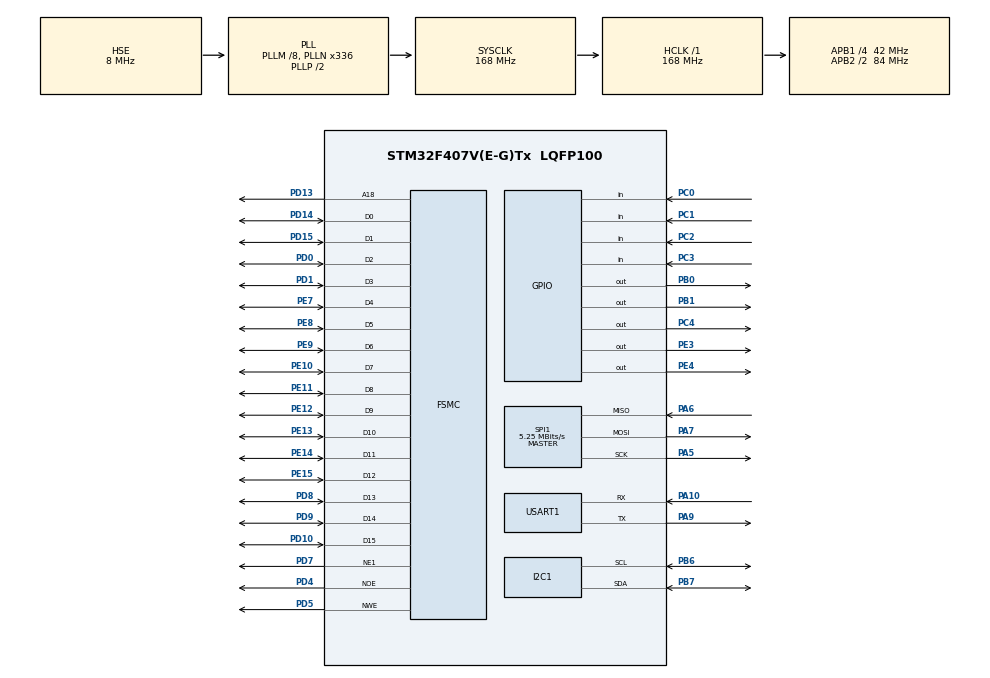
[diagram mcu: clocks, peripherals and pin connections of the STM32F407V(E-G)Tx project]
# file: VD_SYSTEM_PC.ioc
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FSMC.AddressSetupTime1=5
FSMC.BusTurnAroundDuration1=0
FSMC.DataSetupTime1=9
I2C1.I2C_Mode=I2C_Fast
Mcu.Family=STM32F4
Mcu.Name=STM32F407V(E-G)Tx
Mcu.Package=LQFP100
NVIC.PriorityGroup=NVIC_PRIORITYGROUP_4
NVIC.TIM3_IRQn=true\:0\:0\:false\:false\:true\:true\:true\:true
NVIC.USART1_IRQn=true\:0\:0\:false\:false\:true\:true\:true\:true
PA10.Mode=Asynchronous
PA10.Signal=USART1_RX
PA13.Mode=Serial_Wire
PA13.Signal=SYS_JTMS-SWDIO
PA14.Mode=Serial_Wire
PA14.Signal=SYS_JTCK-SWCLK
PA5.Mode=Full_Duplex_Master
PA5.Signal=SPI1_SCK
PA6.Mode=Full_Duplex_Master
PA6.Signal=SPI1_MISO
PA7.Mode=Full_Duplex_Master
PA7.Signal=SPI1_MOSI
PA9.Mode=Asynchronous
PA9.Signal=USART1_TX
PB0.GPIO_Speed=GPIO_SPEED_FREQ_MEDIUM
PB0.PinState=GPIO_PIN_SET
PB0.Signal=GPIO_Output
PB1.PinState=GPIO_PIN_SET
PB1.Signal=GPIO_Output
PB6.Mode=I2C
PB6.Signal=I2C1_SCL
PB7.Mode=I2C
PB7.Signal=I2C1_SDA
PC0.GPIO_PuPd=GPIO_PULLUP
PC0.Signal=GPIO_Input
PC1.GPIO_PuPd=GPIO_PULLUP
PC1.Signal=GPIO_Input
PC2.GPIO_PuPd=GPIO_PULLUP
PC2.Signal=GPIO_Input
PC3.GPIO_PuPd=GPIO_PULLUP
PC3.Signal=GPIO_Input
PC4.Signal=GPIO_Output
PD0.Mode=16b-d1
PD0.Signal=FSMC_D2
PD1.Mode=16b-d1
PD1.Signal=FSMC_D3
PD10.Mode=16b-d1
PD10.Signal=FSMC_D15
PD13.Mode=A18_1
PD13.Signal=FSMC_A18
PD14.Mode=16b-d1
PD14.Signal=FSMC_D0
PD15.Mode=16b-d1
PD15.Signal=FSMC_D1
PD4.Mode=Lcd1
PD4.Signal=FSMC_NOE
PD5.Mode=Lcd1
PD5.Signal=FSMC_NWE
PD7.Mode=NorPsramChipSelect1_1
PD7.Signal=FSMC_NE1
PD8.Mode=16b-d1
PD8.Signal=FSMC_D13
PD9.Mode=16b-d1
PD9.Signal=FSMC_D14
PE10.Mode=16b-d1
PE10.Signal=FSMC_D7
PE11.Mode=16b-d1
PE11.Signal=FSMC_D8
PE12.Mode=16b-d1
PE12.Signal=FSMC_D9
PE13.Mode=16b-d1
PE13.Signal=FSMC_D10
PE14.Mode=16b-d1
PE14.Signal=FSMC_D11
PE15.Mode=16b-d1
PE15.Signal=FSMC_D12
PE3.PinState=GPIO_PIN_SET
PE3.Signal=GPIO_Output
PE4.PinState=GPIO_PIN_SET
PE4.Signal=GPIO_Output
PE7.Mode=16b-d1
PE7.Signal=FSMC_D4
PE8.Mode=16b-d1
PE8.Signal=FSMC_D5
PE9.Mode=16b-d1
PE9.Signal=FSMC_D6
PH0-OSC_IN.Mode=HSE-External-Oscillator
PH0-OSC_IN.Signal=RCC_OSC_IN
PH1-OSC_OUT.Mode=HSE-External-Oscillator
PH1-OSC_OUT.Signal=RCC_OSC_OUT
ProjectManager.HeapSize=0x200
ProjectManager.StackSize=0x400
ProjectManager.TargetToolchain=STM32CubeIDE
RCC.48MHZClocksFreq_Value=84000000
RCC.AHBFreq_Value=168000000
RCC.APB1CLKDivider=RCC_HCLK_DIV4
RCC.APB1Freq_Value=42000000
RCC.APB1TimFreq_Value=84000000
RCC.APB2CLKDivider=RCC_HCLK_DIV2
RCC.APB2Freq_Value=84000000
RCC.APB2TimFreq_Value=168000000
RCC.CortexFreq_Value=168000000
RCC.HCLKFreq_Value=168000000
RCC.HSE_VALUE=8000000
RCC.HSI_VALUE=16000000
RCC.LSE_VALUE=32768
RCC.PLLM=8
RCC.PLLN=336
RCC.PLLSourceVirtual=RCC_PLLSOURCE_HSE
RCC.SYSCLKFreq_VALUE=168000000
RCC.SYSCLKSource=RCC_SYSCLKSOURCE_PLLCLK
RCC.VCOOutputFreq_Value=336000000
SPI1.BaudRatePrescaler=SPI_BAUDRATEPRESCALER_16
SPI1.CalculateBaudRate=5.25 MBits/s
SPI1.Direction=SPI_DIRECTION_2LINES
SPI1.Mode=SPI_MODE_MASTER
SPI1.VirtualType=VM_MASTER
TIM3.AutoReloadPreload=TIM_AUTORELOAD_PRELOAD_ENABLE
TIM3.Period=24
TIM3.Prescaler=8399
USART1.VirtualMode=VM_ASYNC
VP_TIM3_VS_ClockSourceINT.Mode=Internal
board=custom

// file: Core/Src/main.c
/* USER CODE BEGIN Header */
/**
  ******************************************************************************
  * @file           : main.c
  * @brief          : Main program body
  ******************************************************************************
  * @attention
  *
  * Copyright (c) 2026 STMicroelectronics.
  * All rights reserved.
  *
  * This software is licensed under terms that can be found in the LICENSE file
  * in the root directory of this software component.
  * If no LICENSE file comes with this software, it is provided AS-IS.
  *
  ******************************************************************************
  */
/* USER CODE END Header */
#include "main.h"

/* USER CODE BEGIN Includes */
#include "buzzer.h"
#include "w25q16.h"
#include "stdio.h"
#include "adxl345.h"
#include "ili9341.h"
#include "fft_process.h"
#include "app.h"
/* USER CODE END Includes */

/* USER CODE BEGIN PD */

// =========================
// UART 수신 관련 변수
// ------------------------------------------------------------
// - 인터럽트 기반 UART 명령 수신 처리용
// - 한 바이트씩 데이터를 받아 문자열로 조합
// =========================

// UART로부터 수신된 1바이트 데이터 저장
uint8_t rx_byte;

// 수신된 명령 문자열 버퍼 (app.c에서 정의)
// - 예: "HELLO", "START", "STOP"
extern char cmd_buf[50];

// 명령 수신 완료 플래그 (app.c에서 정의)
// - '\n' 또는 '\r' 수신 시 1로 설정
// - main loop에서 확인 후 명령 처리
extern uint8_t cmd_ready;

// 현재 cmd_buf에 저장된 위치 인덱스
// - 수신된 문자를 순차적으로 저장
// - 명령 완료 시 0으로 초기화
static uint8_t rx_index = 0;

/* USER CODE END PD */

I2C_HandleTypeDef hi2c1;

SPI_HandleTypeDef hspi1;

TIM_HandleTypeDef htim3;

UART_HandleTypeDef huart1;

SRAM_HandleTypeDef hsram1;

/* USER CODE BEGIN PV */
int16_t x, y, z;
/* USER CODE END PV */

void SystemClock_Config(void);
static void MX_GPIO_Init(void);
static void MX_FSMC_Init(void);
static void MX_I2C1_Init(void);
static void MX_SPI1_Init(void);
static void MX_USART1_UART_Init(void);
static void MX_TIM3_Init(void);

/* USER CODE BEGIN 0 */
int _write(int file, char *ptr, int len)
{
    HAL_UART_Transmit(&huart1, (uint8_t*)ptr, len, HAL_MAX_DELAY);
    return len;
}

void HAL_UART_RxCpltCallback(UART_HandleTypeDef *huart)
{
    if(huart->Instance == USART1)
    {
        // =========================
        // 종료 문자 '#' 수신 시
        // =========================
        if(rx_byte == '#')
        {
            cmd_buf[rx_index] = '\0';   // 문자열 종료
            cmd_ready = 1;              // 명령 준비 완료
            rx_index = 0;               // 다음 명령 준비
        }
        else
        {
            // =========================
            // 일반 문자 저장
            // =========================
            if(rx_index < 49)   // 버퍼 오버플로 방지
            {
                cmd_buf[rx_index++] = rx_byte;
            }
        }

        // =========================
        // 다음 바이트 수신 재시작
        // =========================
        HAL_UART_Receive_IT(&huart1, &rx_byte, 1);
    }
}
/* USER CODE END 0 */

int main(void)
{

  /* MCU Configuration--------------------------------------------------------*/

  /* Reset of all peripherals, Initializes the Flash interface and the Systick. */
  HAL_Init();

  /* USER CODE BEGIN Init */
  //전원 안정화 대기
  HAL_Delay(100);
  /* USER CODE END Init */

  /* Configure the system clock */
  SystemClock_Config();

  /* Initialize all configured peripherals */
  MX_GPIO_Init();
  MX_FSMC_Init();
  MX_I2C1_Init();
  MX_SPI1_Init();
  MX_USART1_UART_Init();
  MX_TIM3_Init();
  /* USER CODE BEGIN 2 */
  Buzzer_Init();
  ILI9341_Init();
  App_Init();
  ADXL345_Init();
  FFT_Process_Init();

  // TIM 인터럽트 시작
  HAL_TIM_Base_Start_IT(&htim3);

  HAL_UART_Receive_IT(&huart1, &rx_byte, 1);
  /* USER CODE END 2 */

  /* Infinite loop */
  while (1)
  {

    /* USER CODE BEGIN 3 */
      if(adxl_sample_flag)
      {
          adxl_sample_flag = 0;

          if(ADXL345_ReadXYZ(&x, &y, &z) == HAL_OK)
          {
              float fx = (float)x;
              float fy = (float)y;
              float fz = (float)z;

              float mag = sqrtf(fx*fx + fy*fy + fz*fz);

              FFT_Process_Input(mag);
          }
      }

      App_Update(x, y, z);
  }
  /* USER CODE END 3 */
}

void SystemClock_Config(void)
{
  RCC_OscInitTypeDef RCC_OscInitStruct = {0};
  RCC_ClkInitTypeDef RCC_ClkInitStruct = {0};

  /** Configure the main internal regulator output voltage
  */
  __HAL_RCC_PWR_CLK_ENABLE();
  __HAL_PWR_VOLTAGESCALING_CONFIG(PWR_REGULATOR_VOLTAGE_SCALE1);

  /** Initializes the RCC Oscillators according to the specified parameters
  * in the RCC_OscInitTypeDef structure.
  */
  RCC_OscInitStruct.OscillatorType = RCC_OSCILLATORTYPE_HSE;
  RCC_OscInitStruct.HSEState = RCC_HSE_ON;
  RCC_OscInitStruct.PLL.PLLState = RCC_PLL_ON;
  RCC_OscInitStruct.PLL.PLLSource = RCC_PLLSOURCE_HSE;
  RCC_OscInitStruct.PLL.PLLM = 8;
  RCC_OscInitStruct.PLL.PLLN = 336;
  RCC_OscInitStruct.PLL.PLLP = RCC_PLLP_DIV2;
  RCC_OscInitStruct.PLL.PLLQ = 4;
  if (HAL_RCC_OscConfig(&RCC_OscInitStruct) != HAL_OK)
  {
    Error_Handler();
  }

  /** Initializes the CPU, AHB and APB buses clocks
  */
  RCC_ClkInitStruct.ClockType = RCC_CLOCKTYPE_HCLK|RCC_CLOCKTYPE_SYSCLK
                              |RCC_CLOCKTYPE_PCLK1|RCC_CLOCKTYPE_PCLK2;
  RCC_ClkInitStruct.SYSCLKSource = RCC_SYSCLKSOURCE_PLLCLK;
  RCC_ClkInitStruct.AHBCLKDivider = RCC_SYSCLK_DIV1;
  RCC_ClkInitStruct.APB1CLKDivider = RCC_HCLK_DIV4;
  RCC_ClkInitStruct.APB2CLKDivider = RCC_HCLK_DIV2;

  if (HAL_RCC_ClockConfig(&RCC_ClkInitStruct, FLASH_LATENCY_5) != HAL_OK)
  {
    Error_Handler();
  }
}

static void MX_I2C1_Init(void)
{

  hi2c1.Instance = I2C1;
  hi2c1.Init.ClockSpeed = 400000;
  hi2c1.Init.DutyCycle = I2C_DUTYCYCLE_2;
  hi2c1.Init.OwnAddress1 = 0;
  hi2c1.Init.AddressingMode = I2C_ADDRESSINGMODE_7BIT;
  hi2c1.Init.DualAddressMode = I2C_DUALADDRESS_DISABLE;
  hi2c1.Init.OwnAddress2 = 0;
  hi2c1.Init.GeneralCallMode = I2C_GENERALCALL_DISABLE;
  hi2c1.Init.NoStretchMode = I2C_NOSTRETCH_DISABLE;
  if (HAL_I2C_Init(&hi2c1) != HAL_OK)
  {
    Error_Handler();
  }

}

static void MX_SPI1_Init(void)
{

  /* SPI1 parameter configuration*/
  hspi1.Instance = SPI1;
  hspi1.Init.Mode = SPI_MODE_MASTER;
  hspi1.Init.Direction = SPI_DIRECTION_2LINES;
  hspi1.Init.DataSize = SPI_DATASIZE_8BIT;
  hspi1.Init.CLKPolarity = SPI_POLARITY_LOW;
  hspi1.Init.CLKPhase = SPI_PHASE_1EDGE;
  hspi1.Init.NSS = SPI_NSS_SOFT;
  hspi1.Init.BaudRatePrescaler = SPI_BAUDRATEPRESCALER_16;
  hspi1.Init.FirstBit = SPI_FIRSTBIT_MSB;
  hspi1.Init.TIMode = SPI_TIMODE_DISABLE;
  hspi1.Init.CRCCalculation = SPI_CRCCALCULATION_DISABLE;
  hspi1.Init.CRCPolynomial = 10;
  if (HAL_SPI_Init(&hspi1) != HAL_OK)
  {
    Error_Handler();
  }

}

static void MX_TIM3_Init(void)
{

  TIM_ClockConfigTypeDef sClockSourceConfig = {0};
  TIM_MasterConfigTypeDef sMasterConfig = {0};

  htim3.Instance = TIM3;
  htim3.Init.Prescaler = 8399;
  htim3.Init.CounterMode = TIM_COUNTERMODE_UP;
  htim3.Init.Period = 24;
  htim3.Init.ClockDivision = TIM_CLOCKDIVISION_DIV1;
  htim3.Init.AutoReloadPreload = TIM_AUTORELOAD_PRELOAD_ENABLE;
  if (HAL_TIM_Base_Init(&htim3) != HAL_OK)
  {
    Error_Handler();
  }
  sClockSourceConfig.ClockSource = TIM_CLOCKSOURCE_INTERNAL;
  if (HAL_TIM_ConfigClockSource(&htim3, &sClockSourceConfig) != HAL_OK)
  {
    Error_Handler();
  }
  sMasterConfig.MasterOutputTrigger = TIM_TRGO_RESET;
  sMasterConfig.MasterSlaveMode = TIM_MASTERSLAVEMODE_DISABLE;
  if (HAL_TIMEx_MasterConfigSynchronization(&htim3, &sMasterConfig) != HAL_OK)
  {
    Error_Handler();
  }

}

static void MX_USART1_UART_Init(void)
{

  huart1.Instance = USART1;
  huart1.Init.BaudRate = 115200;
  huart1.Init.WordLength = UART_WORDLENGTH_8B;
  huart1.Init.StopBits = UART_STOPBITS_1;
  huart1.Init.Parity = UART_PARITY_NONE;
  huart1.Init.Mode = UART_MODE_TX_RX;
  huart1.Init.HwFlowCtl = UART_HWCONTROL_NONE;
  huart1.Init.OverSampling = UART_OVERSAMPLING_16;
  if (HAL_UART_Init(&huart1) != HAL_OK)
  {
    Error_Handler();
  }

}

static void MX_GPIO_Init(void)
{
  GPIO_InitTypeDef GPIO_InitStruct = {0};

  /* GPIO Ports Clock Enable */
  __HAL_RCC_GPIOE_CLK_ENABLE();
  __HAL_RCC_GPIOH_CLK_ENABLE();
  __HAL_RCC_GPIOC_CLK_ENABLE();
  __HAL_RCC_GPIOA_CLK_ENABLE();
  __HAL_RCC_GPIOB_CLK_ENABLE();
  __HAL_RCC_GPIOD_CLK_ENABLE();

  /*Configure GPIO pin Output Level */
  HAL_GPIO_WritePin(GPIOE, GPIO_PIN_3|GPIO_PIN_4, GPIO_PIN_SET);

  /*Configure GPIO pin Output Level */
  HAL_GPIO_WritePin(GPIOC, GPIO_PIN_4, GPIO_PIN_RESET);

  /*Configure GPIO pin Output Level */
  HAL_GPIO_WritePin(GPIOB, GPIO_PIN_0|GPIO_PIN_1, GPIO_PIN_SET);

  /*Configure GPIO pins : PE3 PE4 */
  GPIO_InitStruct.Pin = GPIO_PIN_3|GPIO_PIN_4;
  GPIO_InitStruct.Mode = GPIO_MODE_OUTPUT_PP;
  GPIO_InitStruct.Pull = GPIO_NOPULL;
  GPIO_InitStruct.Speed = GPIO_SPEED_FREQ_LOW;
  HAL_GPIO_Init(GPIOE, &GPIO_InitStruct);

  /*Configure GPIO pins : PC0 PC1 PC2 PC3 */
  GPIO_InitStruct.Pin = GPIO_PIN_0|GPIO_PIN_1|GPIO_PIN_2|GPIO_PIN_3;
  GPIO_InitStruct.Mode = GPIO_MODE_INPUT;
  GPIO_InitStruct.Pull = GPIO_PULLUP;
  HAL_GPIO_Init(GPIOC, &GPIO_InitStruct);

  /*Configure GPIO pin : PC4 */
  GPIO_InitStruct.Pin = GPIO_PIN_4;
  GPIO_InitStruct.Mode = GPIO_MODE_OUTPUT_PP;
  GPIO_InitStruct.Pull = GPIO_NOPULL;
  GPIO_InitStruct.Speed = GPIO_SPEED_FREQ_LOW;
  HAL_GPIO_Init(GPIOC, &GPIO_InitStruct);

  /*Configure GPIO pin : PB0 */
  GPIO_InitStruct.Pin = GPIO_PIN_0;
  GPIO_InitStruct.Mode = GPIO_MODE_OUTPUT_PP;
  GPIO_InitStruct.Pull = GPIO_NOPULL;
  GPIO_InitStruct.Speed = GPIO_SPEED_FREQ_MEDIUM;
  HAL_GPIO_Init(GPIOB, &GPIO_InitStruct);

  /*Configure GPIO pin : PB1 */
  GPIO_InitStruct.Pin = GPIO_PIN_1;
  GPIO_InitStruct.Mode = GPIO_MODE_OUTPUT_PP;
  GPIO_InitStruct.Pull = GPIO_NOPULL;
  GPIO_InitStruct.Speed = GPIO_SPEED_FREQ_LOW;
  HAL_GPIO_Init(GPIOB, &GPIO_InitStruct);

}

/* FSMC initialization function */
static void MX_FSMC_Init(void)
{

  FSMC_NORSRAM_TimingTypeDef Timing = {0};

  /** Perform the SRAM1 memory initialization sequence
  */
  hsram1.Instance = FSMC_NORSRAM_DEVICE;
  hsram1.Extended = FSMC_NORSRAM_EXTENDED_DEVICE;
  /* hsram1.Init */
  hsram1.Init.NSBank = FSMC_NORSRAM_BANK1;
  hsram1.Init.DataAddressMux = FSMC_DATA_ADDRESS_MUX_DISABLE;
  hsram1.Init.MemoryType = FSMC_MEMORY_TYPE_SRAM;
  hsram1.Init.MemoryDataWidth = FSMC_NORSRAM_MEM_BUS_WIDTH_16;
  hsram1.Init.BurstAccessMode = FSMC_BURST_ACCESS_MODE_DISABLE;
  hsram1.Init.WaitSignalPolarity = FSMC_WAIT_SIGNAL_POLARITY_LOW;
  hsram1.Init.WrapMode = FSMC_WRAP_MODE_DISABLE;
  hsram1.Init.WaitSignalActive = FSMC_WAIT_TIMING_BEFORE_WS;
  hsram1.Init.WriteOperation = FSMC_WRITE_OPERATION_ENABLE;
  hsram1.Init.WaitSignal = FSMC_WAIT_SIGNAL_DISABLE;
  hsram1.Init.ExtendedMode = FSMC_EXTENDED_MODE_DISABLE;
  hsram1.Init.AsynchronousWait = FSMC_ASYNCHRONOUS_WAIT_DISABLE;
  hsram1.Init.WriteBurst = FSMC_WRITE_BURST_DISABLE;
  hsram1.Init.PageSize = FSMC_PAGE_SIZE_NONE;
  /* Timing */
  Timing.AddressSetupTime = 5;
  Timing.AddressHoldTime = 15;
  Timing.DataSetupTime = 9;
  Timing.BusTurnAroundDuration = 0;
  Timing.CLKDivision = 16;
  Timing.DataLatency = 17;
  Timing.AccessMode = FSMC_ACCESS_MODE_A;
  /* ExtTiming */

  if (HAL_SRAM_Init(&hsram1, &Timing, NULL) != HAL_OK)
  {
    Error_Handler( );
  }

}

/* USER CODE BEGIN 4 */
void HAL_TIM_PeriodElapsedCallback(TIM_HandleTypeDef *htim)
{
    if(htim->Instance == TIM3)
    {
        adxl_sample_flag = 1;
    }
}
/* USER CODE END 4 */

void Error_Handler(void)
{
  __disable_irq();
  while (1)
  {
  }
}
